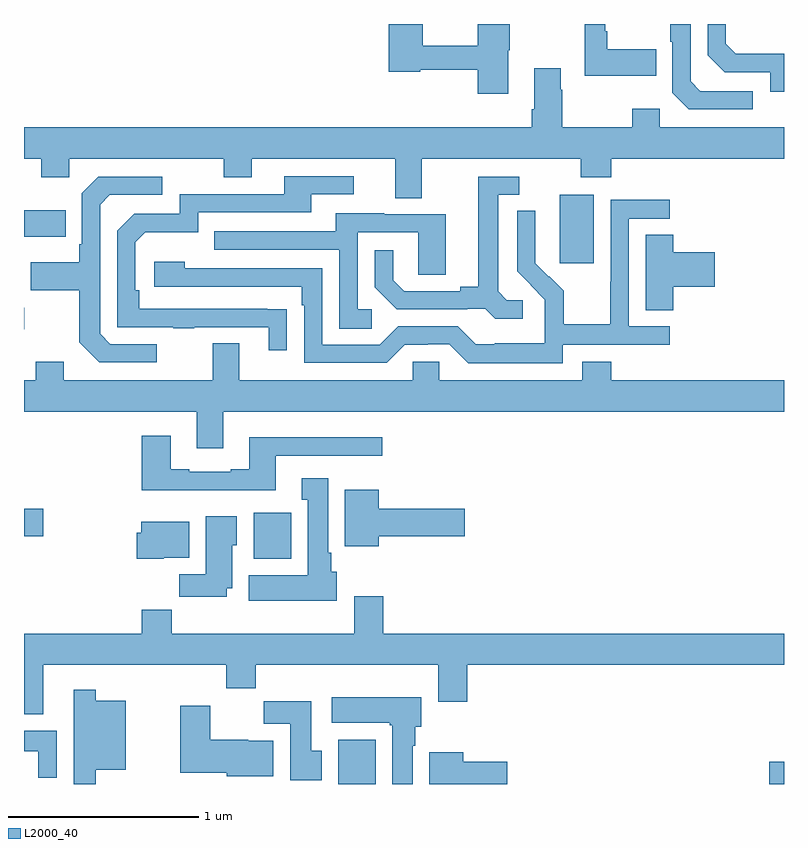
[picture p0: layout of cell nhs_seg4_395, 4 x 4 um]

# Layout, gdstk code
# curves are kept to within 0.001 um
import gdstk
lib = gdstk.Library(unit=1e-6, precision=1e-09)
def R(c, l, rs):  # rectangles x0, y0, x1, y1
    for r in rs: c.add(gdstk.rectangle(r[:2], r[2:], *l))
def P(c, l, *ps):  # polygons
    for p in ps: c.add(gdstk.Polygon(p, *l))
L2000_40 = (2000, 40)

nhs_seg4_395 = lib.new_cell('nhs_seg4_395')
R(nhs_seg4_395, L2000_40, [(132.653,754.9,132.85,755.134), (134.922,754.9,135,755.018), (132.209,756.086,132.406,756.328), (131,756.203,131.101,756.35), (131,757.293,131.002,757.406), (133.82,757.641,133.999,758.002), (131,757.781,131.219,757.921)])
P(nhs_seg4_395, L2000_40, [(134.836,758.547),(134.559,758.547),(134.508,758.598),(134.508,758.9),(134.4,758.9),(134.4,758.807),(134.412,758.807),(134.412,758.538),(134.499,758.451),(134.836,758.451)],
  [(133.549,758.763),(133.557,758.763),(133.557,758.9),(133.387,758.9),(133.387,758.786),(133.098,758.786),(133.098,758.9),(132.92,758.9),(132.92,758.65),(133.086,758.65),(133.086,758.658),(133.387,758.658),(133.387,758.532),(133.549,758.532)],
  [(135,758.743),(134.747,758.743),(134.694,758.796),(134.694,758.9),(134.598,758.9),(134.598,758.736),(134.688,758.646),(134.928,758.646),(134.928,758.544),(135,758.544)],
  [(134.327,758.767),(134.071,758.767),(134.071,758.863),(134.058,758.863),(134.058,758.9),(133.95,758.9),(133.95,758.627),(134.327,758.627)],
  [(133.093,758.192),(133.93,758.192),(133.93,758.093),(134.09,758.093),(134.09,758.192),(135,758.192),(135,758.356),(134.346,758.356),(134.346,758.455),(134.2,758.455),(134.2,758.356),(133.833,758.356),(133.833,758.555),(133.825,758.555),(133.825,758.668),(133.685,758.668),(133.685,758.452),(133.673,758.452),(133.673,758.356),(131,758.356),(131,758.192),(131.092,758.192),(131.092,758.093),(131.238,758.093),(131.238,758.192),(132.052,758.192),(132.052,758.093),(132.199,758.093),(132.199,758.192),(132.953,758.192),(132.953,757.984),(133.093,757.984)],
  [(132.383,757.4),(131.606,757.401),(131.606,757.498),(131.586,757.498),(131.586,757.752),(131.639,757.805),(131.916,757.805),(131.916,757.908),(132.511,757.908),(132.511,758.004),(132.736,758.004),(132.736,758.1),(132.371,758.1),(132.371,758.004),(131.82,758.004),(131.82,757.902),(131.58,757.902),(131.49,757.812),(131.49,757.305),(131.785,757.305),(131.785,757.3),(131.897,757.3),(131.897,757.305),(132.287,757.305),(132.287,757.182),(132.383,757.182)],
  [(133.624,757.446),(133.542,757.446),(133.495,757.493),(133.495,758.001),(133.606,758.001),(133.606,758.097),(133.391,758.097),(133.391,757.517),(133.295,757.517),(133.295,757.494),(133,757.494),(132.943,757.551),(132.943,757.708),(132.846,757.708),(132.846,757.514),(132.962,757.398),(133.334,757.398),(133.334,757.401),(133.428,757.401),(133.48,757.349),(133.624,757.349)],
  [(131.698,757.215),(131.454,757.215),(131.4,757.269),(131.4,757.95),(131.451,758.001),(131.728,758.001),(131.728,758.097),(131.391,758.097),(131.304,758.01),(131.304,757.741),(131.292,757.741),(131.292,757.645),(131.035,757.645),(131.035,757.498),(131.292,757.498),(131.292,757.225),(131.397,757.119),(131.698,757.119)],
  [(133.836,757.212),(134.398,757.212),(134.398,757.308),(134.184,757.308),(134.184,757.875),(134.398,757.875),(134.398,757.974),(134.088,757.974),(134.088,757.544),(134.086,757.544),(134.086,757.321),(133.841,757.321),(133.841,757.495),(133.764,757.572),(133.761,757.569),(133.691,757.64),(133.692,757.916),(133.596,757.916),(133.596,757.598),(133.742,757.45),(133.742,757.353),(133.74,757.353),(133.74,757.219),(133.477,757.219),(133.477,757.215),(133.377,757.215),(133.284,757.308),(132.969,757.308),(132.873,757.212),(132.57,757.212),(132.57,757.614),(131.846,757.614),(131.846,757.648),(131.685,757.648),(131.685,757.518),(132.461,757.518),(132.461,757.421),(132.474,757.421),(132.474,757.116),(132.909,757.116),(133.005,757.212),(133.124,757.212),(133.124,757.215),(133.239,757.215),(133.339,757.115),(133.836,757.115)],
  [(132.829,757.398),(132.756,757.398),(132.756,757.803),(133.074,757.803),(133.074,757.579),(133.219,757.579),(133.219,757.899),(132.895,757.899),(132.895,757.903),(132.641,757.903),(132.641,757.809),(132.001,757.809),(132.001,757.713),(132.66,757.713),(132.66,757.297),(132.829,757.297)],
  [(134.417,757.517),(134.635,757.517),(134.635,757.7),(134.417,757.7),(134.417,757.79),(134.273,757.79),(134.273,757.393),(134.417,757.393)],
  [(132.049,756.86),(135,756.86),(135,757.024),(134.09,757.024),(134.09,757.123),(133.937,757.123),(133.937,757.024),(133.185,757.024),(133.185,757.122),(133.047,757.122),(133.047,757.024),(132.133,757.024),(132.133,757.219),(131.993,757.219),(131.993,757.024),(131.209,757.024),(131.209,757.123),(131.062,757.123),(131.062,757.024),(131,757.024),(131,756.86),(131.909,756.86),(131.909,756.666),(132.049,756.666)],
  [(132.325,756.627),(132.886,756.627),(132.886,756.724),(132.185,756.724),(132.185,756.556),(132.089,756.556),(132.089,756.543),(131.869,756.543),(131.869,756.556),(131.773,756.556),(131.773,756.733),(131.621,756.733),(131.621,756.446),(132.325,756.446)],
  [(132.646,756.018),(132.616,756.018),(132.616,756.118),(132.601,756.118),(132.601,756.508),(132.461,756.508),(132.461,756.395),(132.494,756.395),(132.494,755.998),(132.182,755.998),(132.182,755.864),(132.646,755.864)],
  [(132.868,756.203),(133.321,756.203),(133.321,756.35),(132.868,756.35),(132.868,756.448),(132.689,756.448),(132.689,756.152),(132.868,756.152)],
  [(132.067,755.93),(132.097,755.93),(132.097,756.156),(132.121,756.156),(132.121,756.31),(131.957,756.31),(131.957,756.004),(131.818,756.004),(131.818,755.886),(132.067,755.886)],
  [(131.736,756.092),(131.869,756.092),(131.869,756.28),(131.618,756.28),(131.618,756.222),(131.593,756.222),(131.593,756.086),(131.736,756.086)],
  [(131.101,755.528),(132.065,755.528),(132.065,755.404),(132.221,755.404),(132.221,755.528),(133.181,755.528),(133.181,755.334),(133.334,755.334),(133.334,755.528),(135,755.528),(135,755.692),(132.89,755.692),(132.89,755.887),(132.737,755.887),(132.737,755.692),(131.777,755.692),(131.777,755.816),(131.621,755.816),(131.621,755.692),(131,755.692),(131,755.266),(131.101,755.266)],
  [(131.378,754.976),(131.536,754.976),(131.536,755.338),(131.378,755.338),(131.378,755.395),(131.262,755.395),(131.262,754.9),(131.378,754.9)],
  [(133.045,755.102),(133.06,755.102),(133.06,755.202),(133.09,755.202),(133.09,755.356),(132.621,755.356),(132.621,755.222),(132.925,755.222),(132.925,755.209),(132.938,755.209),(132.938,754.9),(133.045,754.9)],
  [(132.568,755.076),(132.511,755.076),(132.511,755.335),(132.262,755.335),(132.262,755.216),(132.401,755.216),(132.401,754.92),(132.568,754.92)],
  [(132.313,755.128),(132.18,755.128),(132.18,755.134),(131.98,755.134),(131.98,755.311),(131.822,755.311),(131.822,754.958),(132.066,754.958),(132.066,754.94),(132.313,754.94)],
  [(131.172,755.181),(131,755.181),(131,755.073),(131.075,755.073),(131.075,754.932),(131.172,754.932)],
  [(133.543,755.018),(133.312,755.018),(133.312,755.068),(133.133,755.068),(133.133,754.9),(133.543,754.9)])

lib.write_gds('nhs_seg4_395.gds')
